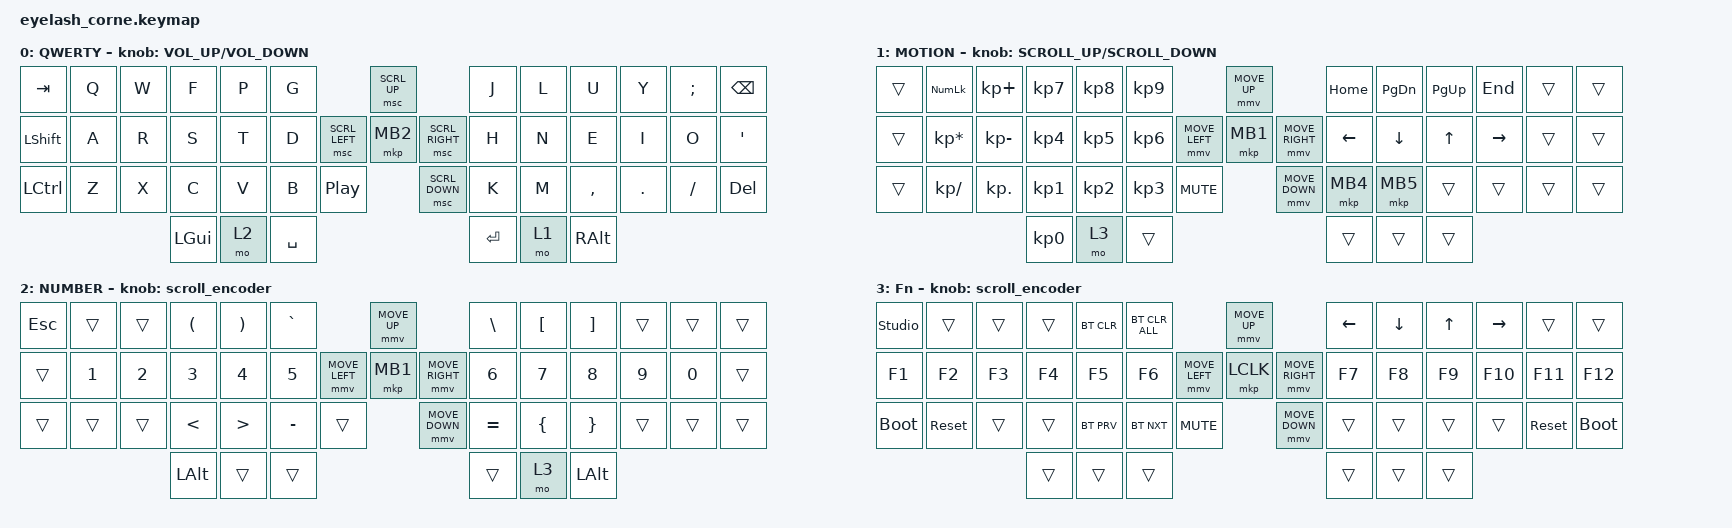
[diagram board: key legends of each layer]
#define ZMK_POINTING_DEFAULT_MOVE_VAL 1200  // 600
#define ZMK_POINTING_DEFAULT_SCRL_VAL 25   // 10

#include <input/processors.dtsi>
#include <zephyr/dt-bindings/input/input-event-codes.h>
#include <behaviors.dtsi>
#include <dt-bindings/zmk/bt.h>
#include <dt-bindings/zmk/keys.h>
#include <dt-bindings/zmk/pointing.h>
#include <dt-bindings/zmk/rgb.h>

&mmv_input_listener { input-processors = <&zip_xy_scaler 2 1>; };

&msc_input_listener { input-processors = <&zip_scroll_scaler 2 1>; };

&msc {
    acceleration-exponent = <1>;      // 0
    time-to-max-speed-ms = <100>;       // 300
    delay-ms = <0>;                   // 0
};

&mmv {
    time-to-max-speed-ms = <500>;
    acceleration-exponent = <1>;
    trigger-period-ms = <16>;
};

/ {
    behaviors {
        td0: td0 {
            compatible = "zmk,behavior-tap-dance";
            display-name = "Shift/Caps Lock Tap Dance";
            #binding-cells = <0>;
            bindings = <&kp LEFT_SHIFT>, <&kp CAPS>;
        };
    };

    rgb_encoder: rgb_encoder {
        compatible = "zmk,behavior-sensor-rotate";
        #sensor-binding-cells = <0>;
        bindings = <&rgb_ug RGB_BRI>, <&rgb_ug RGB_BRD>;
    };

    scroll_encoder: scroll_encoder {
        compatible = "zmk,behavior-sensor-rotate";
        #sensor-binding-cells = <0>;
        bindings = <&msc SCRL_DOWN>, <&msc SCRL_UP>;

        tap-ms = <100>;
    };

    keymap {
        compatible = "zmk,keymap";

        default_layer {
            display-name = "QWERTY";
            bindings = <
&kp TAB         &kp Q  &kp W  &kp F     &kp P  &kp G                                          &msc SCRL_UP                     &kp J      &kp L  &kp U      &kp Y    &kp SEMICOLON  &kp BSPC
&kp LEFT_SHIFT  &kp A  &kp R  &kp S     &kp T  &kp D                          &msc SCRL_LEFT  &mkp MB2        &msc SCRL_RIGHT  &kp H      &kp N  &kp E      &kp I    &kp O          &kp SQT
&kp LCTRL       &kp Z  &kp X  &kp C     &kp V  &kp B      &kp C_PLAY_PAUSE                    &msc SCRL_DOWN                   &kp K      &kp M  &kp COMMA  &kp DOT  &kp FSLH       &kp DELETE
                              &kp LGUI  &mo 2  &kp SPACE                                                                       &kp ENTER  &mo 1  &kp RALT
            >;

            sensor-bindings = <&inc_dec_kp C_VOLUME_UP C_VOLUME_DOWN>;
        };

        lower_layer {
            display-name = "MOTION";
            bindings = <
&trans  &kp KP_NUMLOCK   &kp KP_PLUS   &kp KP_NUMBER_7  &kp KP_NUMBER_8  &kp KP_NUMBER_9                                &mmv MOVE_UP                     &kp HOME  &kp PAGE_DOWN  &kp PG_UP  &kp END    &trans  &trans
&trans  &kp KP_ASTERISK  &kp KP_MINUS  &kp KP_NUMBER_4  &kp KP_NUMBER_5  &kp KP_NUMBER_6                &mmv MOVE_LEFT  &mkp MB1        &mmv MOVE_RIGHT  &kp LEFT  &kp DOWN       &kp UP     &kp RIGHT  &trans  &trans
&trans  &kp KP_DIVIDE    &kp KP_DOT    &kp KP_NUMBER_1  &kp KP_NUMBER_2  &kp KP_NUMBER_3  &kp C_MUTE                    &mmv MOVE_DOWN                   &mkp MB4  &mkp MB5       &trans     &trans     &trans  &trans
                                       &kp KP_NUMBER_0  &mo 3            &trans                                                                          &trans    &trans         &trans
            >;

            sensor-bindings = <&inc_dec_kp K_SCROLL_UP K_SCROLL_DOWN>;
        };

        raise_layer {
            display-name = "NUMBER";
            bindings = <
&kp ESCAPE  &trans        &trans        &kp LEFT_PARENTHESIS  &kp RIGHT_PARENTHESIS  &kp GRAVE                               &mmv MOVE_UP                     &kp BACKSLASH  &kp LEFT_BRACKET  &kp RIGHT_BRACKET  &trans        &trans        &trans
&trans      &kp NUMBER_1  &kp NUMBER_2  &kp NUMBER_3          &kp NUMBER_4           &kp NUMBER_5            &mmv MOVE_LEFT  &mkp MB1        &mmv MOVE_RIGHT  &kp NUMBER_6   &kp NUMBER_7      &kp NUMBER_8       &kp NUMBER_9  &kp NUMBER_0  &trans
&trans      &trans        &trans        &kp LESS_THAN         &kp GREATER_THAN       &kp MINUS     &trans                    &mmv MOVE_DOWN                   &kp EQUAL      &kp LEFT_BRACE    &kp RIGHT_BRACE    &trans        &trans        &trans
                                        &kp LEFT_ALT          &trans                 &trans                                                                   &trans         &mo 3             &kp LEFT_ALT
            >;

            sensor-bindings = <&scroll_encoder>;
        };

        layer_3 {
            display-name = "Fn";
            bindings = <
&studio_unlock  &trans      &trans  &trans  &bt BT_CLR  &bt BT_CLR_ALL                                &mmv MOVE_UP                     &kp LEFT  &kp DOWN  &kp UP  &kp RIGHT  &trans      &trans
&kp F1          &kp F2      &kp F3  &kp F4  &kp F5      &kp F6                        &mmv MOVE_LEFT  &mkp LCLK       &mmv MOVE_RIGHT  &kp F7    &kp F8    &kp F9  &kp F10    &kp F11     &kp F12
&bootloader     &sys_reset  &trans  &trans  &bt BT_PRV  &bt BT_NXT      &kp C_MUTE                    &mmv MOVE_DOWN                   &trans    &trans    &trans  &trans     &sys_reset  &bootloader
                                    &trans  &trans      &trans                                                                         &trans    &trans    &trans
            >;

            sensor-bindings = <&scroll_encoder>;
        };
    };
};
